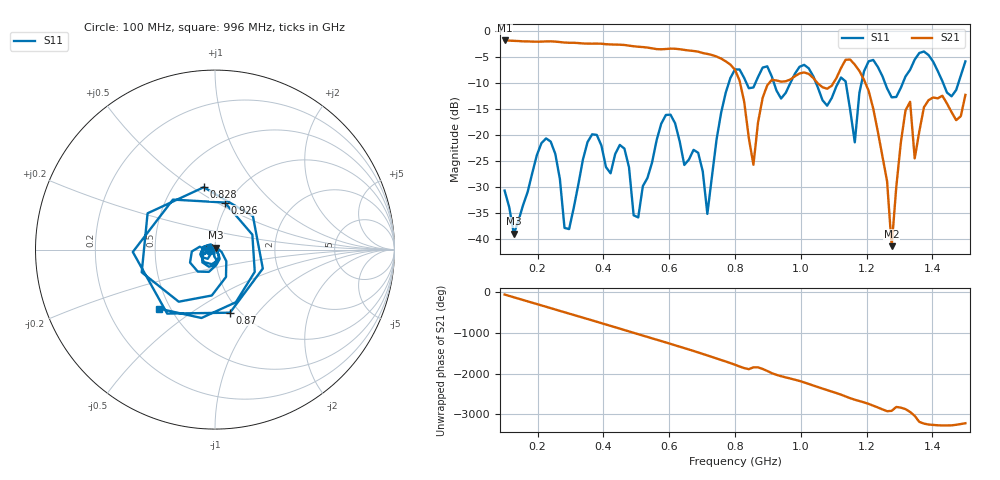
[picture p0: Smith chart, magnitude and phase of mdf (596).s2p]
! NanoVNA-App
! Date: 2025-09-25 15:43:03
! Start: 100MHz Stop: 1,5GHz Points: 101
! S-Parameter data: F S11 S21 S12 S22
# Hz S RI R 50
!  Frequency  S11_Real  S11_Imag  S21_Real  S21_Imag  S12_Real  S12_Imag  S22_Real  S22_Imag
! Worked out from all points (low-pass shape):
!   101 points, 100 MHz to 1.5 GHz, reference 50 ohm
!   highest |S21| = -1.80 dB at 100 MHz (marker M1); lowest = -41.4 dB at 1.276 GHz (marker M2)
!   |S21| within 3 dB of the highest: start of sweep to 739.3 MHz
!   lowest |S11| = -39.0 dB at 128 MHz (marker M3), VSWR 1.02, Z = 50.3 + j1.07 ohm
!   |S11| at or under -10 dB: start of sweep to 781.1 MHz; 918.4 MHz to 968.2 MHz (49.76 MHz wide, 5.28 % of centre); 1.046 GHz to 1.113 GHz (67.06 MHz wide, 6.21 % of centre) (the widest 3 of 7)
!   S12 and S22 are empty: the file has one direction only
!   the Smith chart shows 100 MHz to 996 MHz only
!   S11 on the Smith chart (normalised r, x): 100 MHz: 0.94, -0.01; 828 MHz: 0.70, +0.56; 870 MHz: 0.90, -0.73; 926 MHz: 0.96, +0.54; 996 MHz: 0.43, -0.36
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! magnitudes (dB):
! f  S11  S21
! 100 MHz  -30.7  -1.8
! 128 MHz  -39.0  -1.9
! 212 MHz  -21.6  -2.0
! 282 MHz  -37.9  -2.2
! 338 MHz  -24.7  -2.4
! 464 MHz  -22.6  -2.7
! 506 MHz  -35.9  -3.0
! 576 MHz  -17.8  -3.5
! 716 MHz  -35.2  -4.4
! 800 MHz  -7.4  -7.4
! 828 MHz  -9.0  -13.6
! 856 MHz  -10.9  -25.8
! 870 MHz  -8.8  -17.6
! 926 MHz  -11.4  -9.5
! 996 MHz  -6.9  -8.2
! 1.038 GHz  -8.7  -9.0
! 1.164 GHz  -21.4  -6.5
! 1.192 GHz  -7.7  -9.4
! 1.276 GHz  -12.8  -41.4
! 1.318 GHz  -8.7  -15.3
! 1.346 GHz  -5.5  -24.5
! 1.5 GHz  -5.8  -12.3
